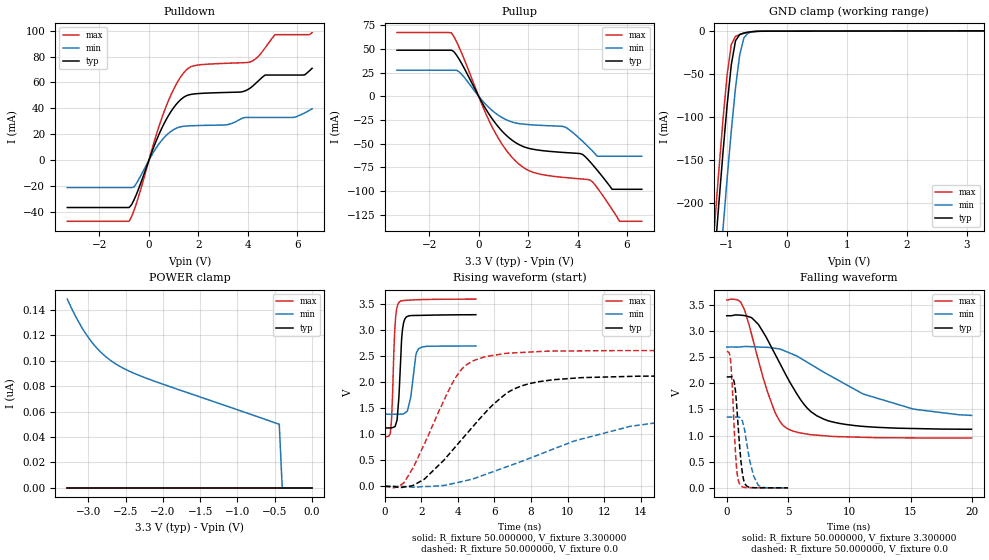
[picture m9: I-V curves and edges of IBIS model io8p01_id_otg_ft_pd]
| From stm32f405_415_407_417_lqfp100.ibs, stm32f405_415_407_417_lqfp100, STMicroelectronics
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|   Model io8p01_id_otg_ft_pd
[Model]  io8p01_id_otg_ft_pd
Model_type I/O
Polarity   Non-Inverting
Enable   Active-Low
Vinl =   0.990000V
Vinh =   2.310000V
Vmeas =  1.650000V
Cref =   50.000000pF
Rref =   100.000000M
Vref =   0.0V
C_comp   2.283100pF   2.214500pF   2.357400pF
[Temperature Range]   25.000000   0.125000k   -40.000000
[Pullup Reference]   3.300000V   2.700000V   3.600000V
[Pulldown Reference]   0.0V   0.0V   0.0V
[POWER Clamp Reference]   3.300000V   2.700000V   3.600000V
[GND Clamp Reference]   0.0V   0.0V   0.0V
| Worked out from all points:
|   slope of the pulldown table from 0 to 0.495 V, typ, clamps not added: 20.9 ohm
|   slope of the pullup table from 0 to 0.495 V, typ, clamps not added: 22.6 ohm
|   GND clamp passes 1 mA (typ) near -0.62 V on its own axis
|   rising waveform, R_fixture 50.000000, V_fixture 3.300000: 20-80 % time 192ps typ, 292ps min, 166ps max; typ from 1.12 V to 3.29 V
|   rising waveform, R_fixture 50.000000, V_fixture 0.0: 20-80 % time 3.35ns typ, 6.84ns min, 2.1ns max; typ from 0 V to 2.12 V
|   falling waveform, R_fixture 50.000000, V_fixture 3.300000: 20-80 % time 3.18ns typ, 6.86ns min, 2ns max; typ from 3.29 V to 1.12 V
|   falling waveform, R_fixture 50.000000, V_fixture 0.0: 20-80 % time 432ps typ, 670ps min, 341ps max; typ from 2.12 V to 0 V
[Pulldown]
|Voltage   I(typ)   I(min)   I(max)
-3.3V     -36.46mA   -21.1mA    -47.09mA
-800mV    -36.46mA   -21.1mA    -47.09mA
-600mV    -30.5mA    -20.54mA   -38.68mA
700mV     31.39mA    19.11mA    41.7mA
1.2V      45.14mA    25.37mA    61.74mA
1.6V      50.34mA    26.49mA    71.04mA
3.1V      52.26mA    27.25mA    74.74mA
4.1V      55.69mA    32.98mA    75.78mA
4.7V      65.7mA     32.98mA    86.67mA
5.1V      65.7mA     32.98mA    96.88mA
6.3V      65.85mA    36.49mA    96.88mA
6.6V      70.9mA     39.7mA     98.46mA
[Pullup]
|Voltage   I(typ)   I(min)   I(max)
-3.3V     48.54mA    27.43mA    67.16mA
-1.1V     48.54mA    27.43mA    66.89mA
-700mV    35.13mA    23.47mA    46.35mA
500mV     -22.06mA   -14mA      -30.03mA
1.5V      -49.1mA    -28.3mA    -68.56mA
2.2V      -56.04mA   -30.32mA   -80.35mA
3.5V      -59.53mA   -32.65mA   -85.92mA
4.5V      -69.07mA   -55.13mA   -88.38mA
4.8V      -78.23mA   -63.4mA    -96.83mA
5.4V      -98.3mA    -63.4mA    -119.6mA
5.7V      -98.3mA    -63.4mA    -132.1mA
6.6V      -98.3mA    -63.4mA    -132.1mA
[GND_clamp]
|Voltage   I(typ)   I(min)   I(max)
-3.3V     -2.316A    -2.396A    -2.289A
-1.2V     -265.5mA   -356.1mA   -227.2mA
-1.13V    -202.7mA   -292.9mA   -164.2mA
-1.06V    -142.2mA   -231.2mA   -104.1mA
-990mV    -86mA      -171.6mA   -50.76mA
-920mV    -38.84mA   -115.5mA   -15.35mA
-850mV    -11.15mA   -65.63mA   -6.09mA
-780mV    -3.853mA   -27.45mA   -3.961mA
-710mV    -2.153mA   -7.739mA   -2.46mA
-640mV    -1.209mA   -2.169mA   -1.292mA
-570mV    -580.3uA   -846.3uA   -542.8uA
3.28V     342.5uA    239.2uA    398.5uA
[POWER_clamp]
|Voltage   I(typ)   I(min)   I(max)
-3.28V    0A         148.5nA    0A
-3.2V     0A         138.6nA    0A
-3.12V    0A         129.7nA    0A
-3.04V    0A         122nA      0A
-2.96V    0A         115.3nA    0A
-2.8V     0A         105.1nA    0A
-2.6V     0A         96.44nA    0A
-2.4V     0A         90.52nA    0A
-2.16V    0A         84.97nA    0A
-440mV    0A         50.04nA    0A
-400mV    0A         0A         0A
0V        0A         0A         0A
[Ramp]
| variable   typ   min   max
dV/dt_r  1.27680/3.35260n   0.79668/6.84360n   1.56396/2.09438n
dV/dt_f  1.30116/3.18503n   0.74142/6.82211n   1.58591/1.99712n
R_load = 50.000000
[Rising Waveform]
R_fixture= 50.000000
V_fixture= 3.300000
V_fixture_min= 2.700000
V_fixture_max= 3.600000
|time   V(typ)   V(min)   V(max)
0s        1.121V     1.387V     952.6mV
300.3ps   1.123V     1.387V     1.013V
370.4ps   1.125V     1.387V     1.277V
500.5ps   1.139V     1.387V     2.629V
590.6ps   1.179V     1.387V     3.237V
760.8ps   1.661V     1.385V     3.521V
940.9ps   2.91V      1.389V     3.563V
1.161ns   3.244V     1.425V     3.57V
1.842ns   3.281V     2.639V     3.583V
4.985ns   3.295V     2.695V     3.594V
[Rising Waveform]
R_fixture= 50.000000
V_fixture= 0.0
V_fixture_min= 0.0
V_fixture_max= 0.0
|time   V(typ)   V(min)   V(max)
0s        358.5uV    205.7uV    685uV
1.081ns   -9.495mV   -1.989mV   89.14mV
2.162ns   137.9mV    -2.087mV   812.3mV
3.724ns   702.4mV    54.6mV     1.997V
4.244ns   914.3mV    95.69mV    2.261V
4.885ns   1.174V     150.4mV    2.418V
6.687ns   1.794V     379mV      2.556V
8.408ns   2.008V     605.8mV    2.587V
13.41ns   2.111V     1.151V     2.607V
19.94ns   2.124V     1.354V     2.607V
[Falling Waveform]
R_fixture= 50.000000
V_fixture= 3.300000
V_fixture_min= 2.700000
V_fixture_max= 3.600000
|time   V(typ)   V(min)   V(max)
0s        3.295V     2.695V     3.594V
880.9ps   3.309V     2.695V     3.598V
1.441ns   3.297V     2.705V     3.409V
2.563ns   3.133V     2.696V     2.457V
3.684ns   2.673V     2.679V     1.6V
4.965ns   2.098V     2.597V     1.131V
6.567ns   1.524V     2.403V     1.029V
8.368ns   1.277V     2.154V     989.6mV
15.22ns   1.136V     1.507V     956.3mV
19.94ns   1.121V     1.387V     952.6mV
[Falling Waveform]
R_fixture= 50.000000
V_fixture= 0.0
V_fixture_min= 0.0
V_fixture_max= 0.0
|time   V(typ)   V(min)   V(max)
0s        2.124V     1.354V     2.607V
300.3ps   2.125V     1.354V     2.467V
450.5ps   2.114V     1.354V     1.946V
620.6ps   2.01V      1.354V     1.075V
840.8ps   1.482V     1.356V     291.2mV
1.041ns   825.1mV    1.349V     76.62mV
1.451ns   98.44mV    1.113V     9.651mV
1.852ns   11.84mV    543.1mV    3.861mV
2.573ns   2.018mV    46.86mV    1.869mV
4.985ns   358.5uV    205.7uV    685uV
